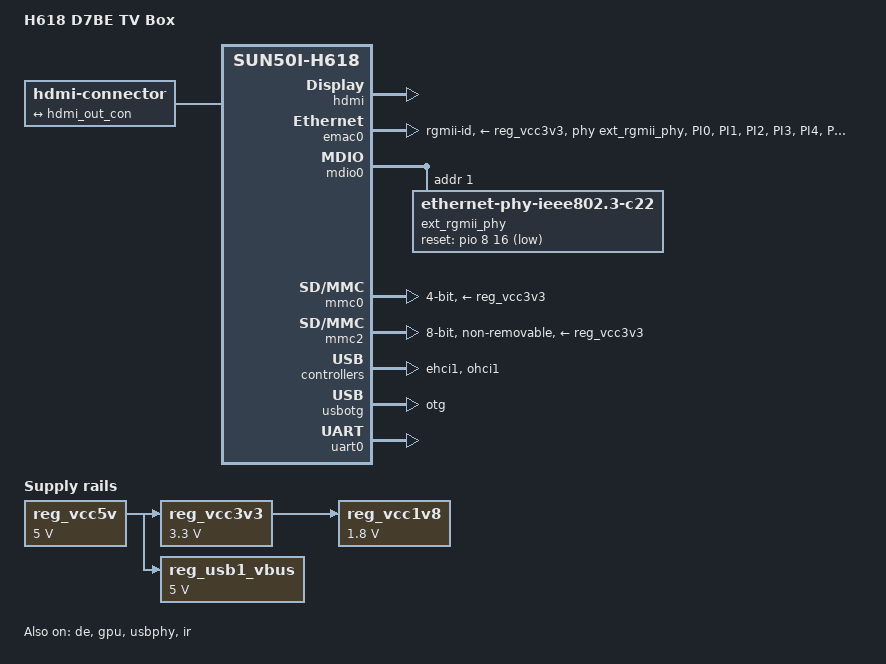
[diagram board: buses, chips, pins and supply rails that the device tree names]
// SPDX-License-Identifier: (GPL-2.0+ OR MIT)
/*
 * Allwinner H618 TV box, board D7BE_H618_V1.2 (2024-01-30)
 *
 * 硬件实测：H618 / 4GB DDR3L / 128GB eMMC / 千兆网口 / 无无线模块
 *          DC 供电 / RJ45 / HDMI / AV / USB-A x2 / TF / 红外
 *
 * ===== 参数来源 =====
 * 硬件参数取自同型板（H618 4+128G 千兆 PCDN 盒子）的原厂 DTB
 * `sun50i-h618-devboard.dtb`（model = "H618 Dev Board"，
 *  compatible = "allwinner,devboard", "allwinner,sun50i-h618"），
 * 经 _dtb2dts.py 反编译核对。凡标注「原厂」的数值均出自该文件。
 *
 * ===== 三个关键修正（相对早期版本）=====
 * 1) RGMII pinctrl 不能复用主线的 ext_rgmii_pins
 *    主线: PI0-PI5, PI7-PI15, PI16   （跳过 PI6，含 PI16）
 *    原厂: PI0-PI15                    （连续，不含 PI16）
 *    主线漏掉 PI6 会让 RGMII 少一路信号；把 PI16 配成 emac0 功能
 *    则与 PHY 复位脚冲突，PHY 永远出不了复位。故自定义 d7be_rgmii_pins。
 * 2) phy-mode 改为 "rgmii-id"（原厂值）。此前写 "rgmii-rxid" 是抄
 *    Orange Pi Zero3 的，与本板 PHY 内部延时的用法不同。
 * 3) PHY 增加复位控制：PI16，低有效，assert 30ms / deassert 150ms（原厂值）。
 *    没有这条，PHY 可能停在复位态，网口不通。
 *
 * ===== 已知取舍 =====
 * - 本板 PMIC 为 AXP313A（I2C 0x36，原厂 DTB 确认）。这里仍不引用 PMIC 节点，
 *   全部用 fixed regulator：电压值与原厂 dldo1(3.3V)/aldo1(1.8V) 一致，
 *   但不走 PMIC 驱动，避免驱动不匹配导致 regulator 解析失败卡启动。
 *   代价：CPU/GPU 无 DVFS，定频运行。DRAM 电压由 PMIC OTP 上电默认值决定，
 *   SPL 不参与（已核对 dram_sun50i_h616.c 无任何 pmic 调用）。
 * - mmc0 用 broken-cd 而非原厂的 cd-gpios(PF6)：启动卡场景下强制认为卡在位，
 *   比依赖卡检测脚更可靠，代价是不支持热插拔。
 * - 调试串口 UART0 = PH0/PH1，115200 8N1（原厂 stdout-path 一致）。
 * - HDMI 依赖 Armbian 补丁 0038~0042 提供的 DE33/TCON/HDMI-PHY 支持。
 */

/dts-v1/;

#include "sun50i-h616.dtsi"

#include <dt-bindings/gpio/gpio.h>
#include <dt-bindings/interrupt-controller/arm-gic.h>
#include <dt-bindings/leds/common.h>

/ {
	model = "H618 D7BE TV Box";
	compatible = "d7be,h618-d7be", "allwinner,sun50i-h618";

	aliases {
		ethernet0 = &emac0;
		mmc0 = &mmc0;
		mmc2 = &mmc2;
		serial0 = &uart0;
	};

	chosen {
		stdout-path = "serial0:115200n8";
	};

	hdmi-connector {
		compatible = "hdmi-connector";
		type = "a";

		port {
			hdmi_con_in: endpoint {
				remote-endpoint = <&hdmi_out_con>;
			};
		};
	};

	reg_vcc5v: regulator-vcc5v {
		compatible = "regulator-fixed";
		regulator-name = "vcc-5v";
		regulator-min-microvolt = <5000000>;
		regulator-max-microvolt = <5000000>;
		regulator-always-on;
	};

	/* 原厂 dldo1 = 3.3V，供 SD/eMMC IO 与 PHY */
	reg_vcc3v3: regulator-vcc3v3 {
		compatible = "regulator-fixed";
		regulator-name = "vcc-3v3";
		regulator-min-microvolt = <3300000>;
		regulator-max-microvolt = <3300000>;
		vin-supply = <&reg_vcc5v>;
		regulator-always-on;
	};

	/* 原厂 aldo1 = 1.8V，供 eMMC IO（vqmmc）与 HDMI */
	reg_vcc1v8: regulator-vcc1v8 {
		compatible = "regulator-fixed";
		regulator-name = "vcc-1v8";
		regulator-min-microvolt = <1800000>;
		regulator-max-microvolt = <1800000>;
		vin-supply = <&reg_vcc3v3>;
		regulator-always-on;
	};

	reg_usb1_vbus: regulator-usb1-vbus {
		compatible = "regulator-fixed";
		regulator-name = "usb1-vbus";
		regulator-min-microvolt = <5000000>;
		regulator-max-microvolt = <5000000>;
		vin-supply = <&reg_vcc5v>;
		regulator-always-on;
	};
};

/*
 * 自定义 RGMII 引脚组：PI0-PI15 连续 16 根（原厂定义）。
 * 注意 PI16 不在此列 —— 它留给下方 PHY 的 reset-gpios。
 */
&pio {
	d7be_rgmii_pins: rgmii-pins {
		pins = "PI0", "PI1", "PI2", "PI3", "PI4", "PI5",
		       "PI6", "PI7", "PI8", "PI9", "PI10", "PI11",
		       "PI12", "PI13", "PI14", "PI15";
		function = "emac0";
		drive-strength = <40>;
	};
};

&de {
	status = "okay";
};

&gpu {
	status = "okay";
};

&hdmi {
	hvcc-supply = <&reg_vcc1v8>;
	status = "okay";
};

&hdmi_out {
	hdmi_out_con: endpoint {
		remote-endpoint = <&hdmi_con_in>;
	};
};

&emac0 {
	pinctrl-names = "default";
	pinctrl-0 = <&d7be_rgmii_pins>;
	phy-mode = "rgmii-id";
	phy-handle = <&ext_rgmii_phy>;
	phy-supply = <&reg_vcc3v3>;
	status = "okay";
};

&mdio0 {
	ext_rgmii_phy: ethernet-phy@1 {
		compatible = "ethernet-phy-ieee802.3-c22";
		reg = <1>;
		reset-gpios = <&pio 8 16 GPIO_ACTIVE_LOW>;
		reset-assert-us = <30000>;
		reset-deassert-us = <150000>;
	};
};

&mmc0 {
	vmmc-supply = <&reg_vcc3v3>;
	bus-width = <4>;
	broken-cd;
	status = "okay";
};

&mmc2 {
	vmmc-supply = <&reg_vcc3v3>;
	vqmmc-supply = <&reg_vcc1v8>;
	bus-width = <8>;
	non-removable;
	cap-mmc-hw-reset;
	status = "okay";
};

&ehci1 {
	status = "okay";
};

&ohci1 {
	status = "okay";
};

&usbotg {
	dr_mode = "otg";
	status = "okay";
};

&usbphy {
	usb1_vbus-supply = <&reg_usb1_vbus>;
	status = "okay";
};

&uart0 {
	pinctrl-names = "default";
	pinctrl-0 = <&uart0_ph_pins>;
	status = "okay";
};

&ir {
	status = "okay";
};
